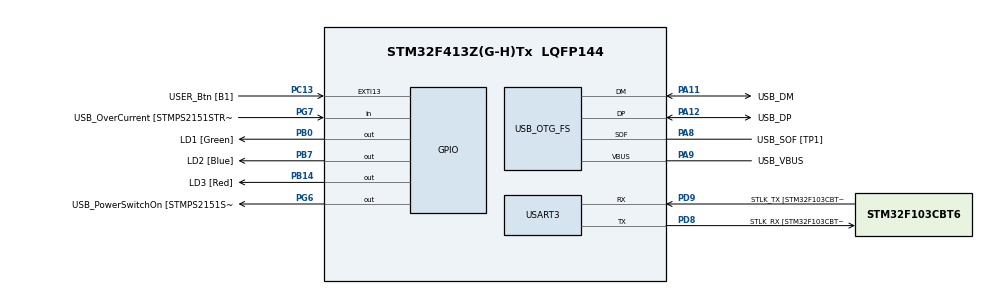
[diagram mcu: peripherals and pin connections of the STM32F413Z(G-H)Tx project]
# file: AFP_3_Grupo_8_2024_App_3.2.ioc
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Mcu.Family=STM32F4
Mcu.Name=STM32F413Z(G-H)Tx
Mcu.Package=LQFP144
NVIC.PriorityGroup=NVIC_PRIORITYGROUP_4
PA10.GPIO_Label=USB_ID
PA10.Signal=USB_OTG_FS_ID
PA11.GPIO_Label=USB_DM
PA11.Mode=Device_Only
PA11.Signal=USB_OTG_FS_DM
PA12.GPIO_Label=USB_DP
PA12.Mode=Device_Only
PA12.Signal=USB_OTG_FS_DP
PA13.GPIO_Label=TMS
PA13.Mode=Serial_Wire
PA13.Signal=SYS_JTMS-SWDIO
PA14.GPIO_Label=TCK
PA14.Mode=Serial_Wire
PA14.Signal=SYS_JTCK-SWCLK
PA8.GPIO_Label=USB_SOF [TP1]
PA8.Mode=Activate_SOF_FS
PA8.Signal=USB_OTG_FS_SOF
PA9.GPIO_Label=USB_VBUS
PA9.Mode=Activate_VBUS
PA9.Signal=USB_OTG_FS_VBUS
PB0.GPIO_Label=LD1 [Green]
PB0.Signal=GPIO_Output
PB14.GPIO_Label=LD3 [Red]
PB14.Signal=GPIO_Output
PB3.GPIO_Label=SWO
PB3.Signal=SYS_JTDO-SWO
PB7.GPIO_Label=LD2 [Blue]
PB7.Signal=GPIO_Output
PC13.GPIO_Label=USER_Btn [B1]
PC13.Signal=GPXTI13
PC14-OSC32_IN.Mode=LSE-External-Oscillator
PC14-OSC32_IN.Signal=RCC_OSC32_IN
PC15-OSC32_OUT.Mode=LSE-External-Oscillator
PC15-OSC32_OUT.Signal=RCC_OSC32_OUT
PD8.GPIO_Label=STLK_RX [STM32F103CBT6_PA3]
PD8.Mode=Asynchronous
PD8.Signal=USART3_TX
PD9.GPIO_Label=STLK_TX [STM32F103CBT6_PA2]
PD9.Mode=Asynchronous
PD9.Signal=USART3_RX
PG6.GPIO_Label=USB_PowerSwitchOn [STMPS2151STR_EN]
PG6.Signal=GPIO_Output
PG7.GPIO_Label=USB_OverCurrent [STMPS2151STR_FAULT]
PG7.Signal=GPIO_Input
PH0\ -\ OSC_IN.GPIO_Label=MCO
PH0\ -\ OSC_IN.Mode=HSE-External-Clock-Source
PH0\ -\ OSC_IN.Signal=RCC_OSC_IN
PH1\ -\ OSC_OUT.Mode=HSE-External-Clock-Source
PH1\ -\ OSC_OUT.Signal=RCC_OSC_OUT
ProjectManager.HeapSize=0x200
ProjectManager.StackSize=0x400
ProjectManager.TargetToolchain=STM32CubeIDE
RCC.48MHZClocksFreq_Value=24000000
RCC.AHBFreq_Value=96000000
RCC.APB1CLKDivider=RCC_HCLK_DIV2
RCC.APB1Freq_Value=48000000
RCC.APB1TimFreq_Value=96000000
RCC.APB2Freq_Value=96000000
RCC.APB2TimFreq_Value=96000000
RCC.CortexFreq_Value=96000000
RCC.HCLKFreq_Value=96000000
RCC.HSE_VALUE=8000000
RCC.HSI_VALUE=16000000
RCC.PLLM=8
RCC.PLLMUL=RCC_PLL_MUL9
RCC.PLLN=384
RCC.PLLP=RCC_PLLP_DIV4
RCC.PLLQ=8
RCC.PRESCALERUSB=RCC_USBCLKSOURCE_PLL_DIV1_5
RCC.SYSCLKFreq_VALUE=96000000
RCC.SYSCLKSource=RCC_SYSCLKSOURCE_PLLCLK
RCC.SYSCLKSourceVirtual=RCC_SYSCLKSOURCE_PLLCLK
RCC.USBFreq_Value=48000000
RCC.VCOOutputFreq_Value=384000000
USART3.VirtualMode=VM_ASYNC
USB_OTG_FS.VirtualMode=Device_Only
board=NUCLEO-F413ZH

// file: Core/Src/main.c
/* USER CODE BEGIN Header */
/**
  ******************************************************************************
  * @file           : main.c
  * @brief          : Main program body
  ******************************************************************************
  * @attention
  *
  * Copyright (c) 2024 STMicroelectronics.
  * All rights reserved.
  *
  * This software is licensed under terms that can be found in the LICENSE file
  * in the root directory of this software component.
  * If no LICENSE file comes with this software, it is provided AS-IS.
  *
  * App1.2: Desarrolle una aplicacion que utilice el pulsador onboard de la pla
  * ca de desarrollo para alternar entre dos secuencias diferentes. La app ini-
  * cia con la secuencias de la App1.1 y, cuando se presione el pulsador, dicha
  * secuencia debe invertirse y continuar, de manera que, cada vez que se pre-
  * sione el pulsador la secuencia actual se invierta. La app debe ser de carac
  * ter general, por lo que aplica la misma recomendacion para el punto anterior.
  *
  ******************************************************************************
  */
/* USER CODE END Header */
#include "main.h"
#include "API_GPIO.h"
#include "API_Delay.h"

/* USER CODE BEGIN PTD */
typedef enum {
    ENCENDER_LED0,
    ESPERAR_LED0_OFF,
    ENCENDER_LED1,
    ESPERAR_LED1_OFF,
    ENCENDER_LED2,
    ESPERAR_LED2_OFF
} estado_t;
/* USER CODE END PTD */

/* USER CODE BEGIN PD */
#define N 3 				//variable N para definir el tamano del vector LED

/* USER CODE END PD */

estado_t estado=ENCENDER_LED0;  // Inicializo el orden de encendido de los LEDs

int estado_boton=0, estado_anterior=GPIO_PIN_RESET;								//Variables auxiliares para determinar el estado actual y el estado anterior
																				//para luego comparar los 2 estados y verificar que no se este pulsando
																				//constantemente el pulsador.
// Define las secuencias de encendido de LEDs
const int secuencia_normal[] = {0, 1, 2};     									// LED Verde, Azul, Rojo
const int secuencia_invertida[] = {2, 1, 0};  									// LED Rojo, Azul, Verde
int estado_secuencia=1;  														//el estado inicial sera la secuencia normal

/* USER CODE BEGIN PV */
uint16_t LED[N]={LD1_Pin, LD2_Pin, LD3_Pin};
delay_t delaySecuencia;
/* USER CODE END PV */

/* USER CODE BEGIN PFP */
//void encender_leds_invertido(void);
void control_leds(const int *secuencia);
/* USER CODE END PFP */

int main(void)
{

  /* MCU Configuration--------------------------------------------------------*/

  /* Reset of all peripherals, Initializes the Flash interface and the Systick. */
  HAL_Init();

  /* Configure the system clock */
  SystemClock_Config();

  /* Initialize all configured peripherals */
  MX_GPIO_Init();
  MX_USART3_UART_Init();
  MX_USB_OTG_FS_PCD_Init();

  /* USER CODE BEGIN 2 */
  delayInit(&delaySecuencia, 200); //definir el tiempo de retardo
  /* USER CODE END 2 */

  /* Infinite loop */
  /* USER CODE BEGIN WHILE */
  while (1)
  {
/* Programa para prender secuencialmente leds 1,2,3 y de manera invertida 3,2,1. Alternando entre secuencias cuando se presiona el pulsador */
	  estado_boton=readButton_GPIO();		//Compruebo si el boton esta presionado

	  if(estado_boton==GPIO_PIN_SET && estado_anterior==GPIO_PIN_RESET){		//	Cambia el estado de la secuencia - Evita que alterne una y otra vez si se lo mantiene presionado
		  estado_secuencia=-estado_secuencia;									//	Los valores para las 2 secuencias son 1 y -1
		  estado = ENCENDER_LED0;												// Reinicia al primer estado en cada cambio de secuencia
		  writeLedOff_GPIO(LED[0] | LED[1] | LED[2]);
	  }
	  estado_anterior=estado_boton;												// Guarda el estado anterior para asegurar si el boton esta pulsado o no cuando se hizo el control

	  	  switch (estado_secuencia){											// Selecciona cual secuencia se ejecutara
	  	  	  case 1:
	  	  		  control_leds(secuencia_normal);
	  	  		  break;
	  	  	  case -1:
	  	  		  control_leds(secuencia_invertida);
	  	  		  break;
	  	  }
   }
}
    /* USER CODE END WHILE */

/* USER CODE BEGIN 4 */
void control_leds(const int* secuencia){		/* Funciona para secuencia en orden ascendente y descendente*/

    if (delayRead(&delaySecuencia)) {
         // Cambiar estado según la máquina de estados
         switch (estado) {
             case ENCENDER_LED0:
            	 toggleLed_GPIO(LED[secuencia[0]]); 						 // Encender LED 0
                 estado = ESPERAR_LED0_OFF;
                 break;

             case ESPERAR_LED0_OFF:
            	 toggleLed_GPIO(LED[secuencia[0]]);  						// Apagar LED 0
                 estado = ENCENDER_LED1;
                 break;

             case ENCENDER_LED1:
            	 toggleLed_GPIO(LED[secuencia[1]]);  						// Encender LED 1
                 estado = ESPERAR_LED1_OFF;
                 break;

             case ESPERAR_LED1_OFF:
            	 toggleLed_GPIO(LED[secuencia[1]]);  						// Apagar LED 1
                 estado = ENCENDER_LED2;
                 break;

             case ENCENDER_LED2:
            	 toggleLed_GPIO(LED[secuencia[2]]); 						// Encender LED 2
                 estado = ESPERAR_LED2_OFF;
                 break;

             case ESPERAR_LED2_OFF:
            	 toggleLed_GPIO(LED[secuencia[2]]);  						// Apagar LED 2
                 estado = ENCENDER_LED0; 									// Reiniciar la secuencia
                 break;
         }

    }
}

/* USER CODE END 4 */

void Error_Handler(void){
  __disable_irq();
  while (1){
  }
}
